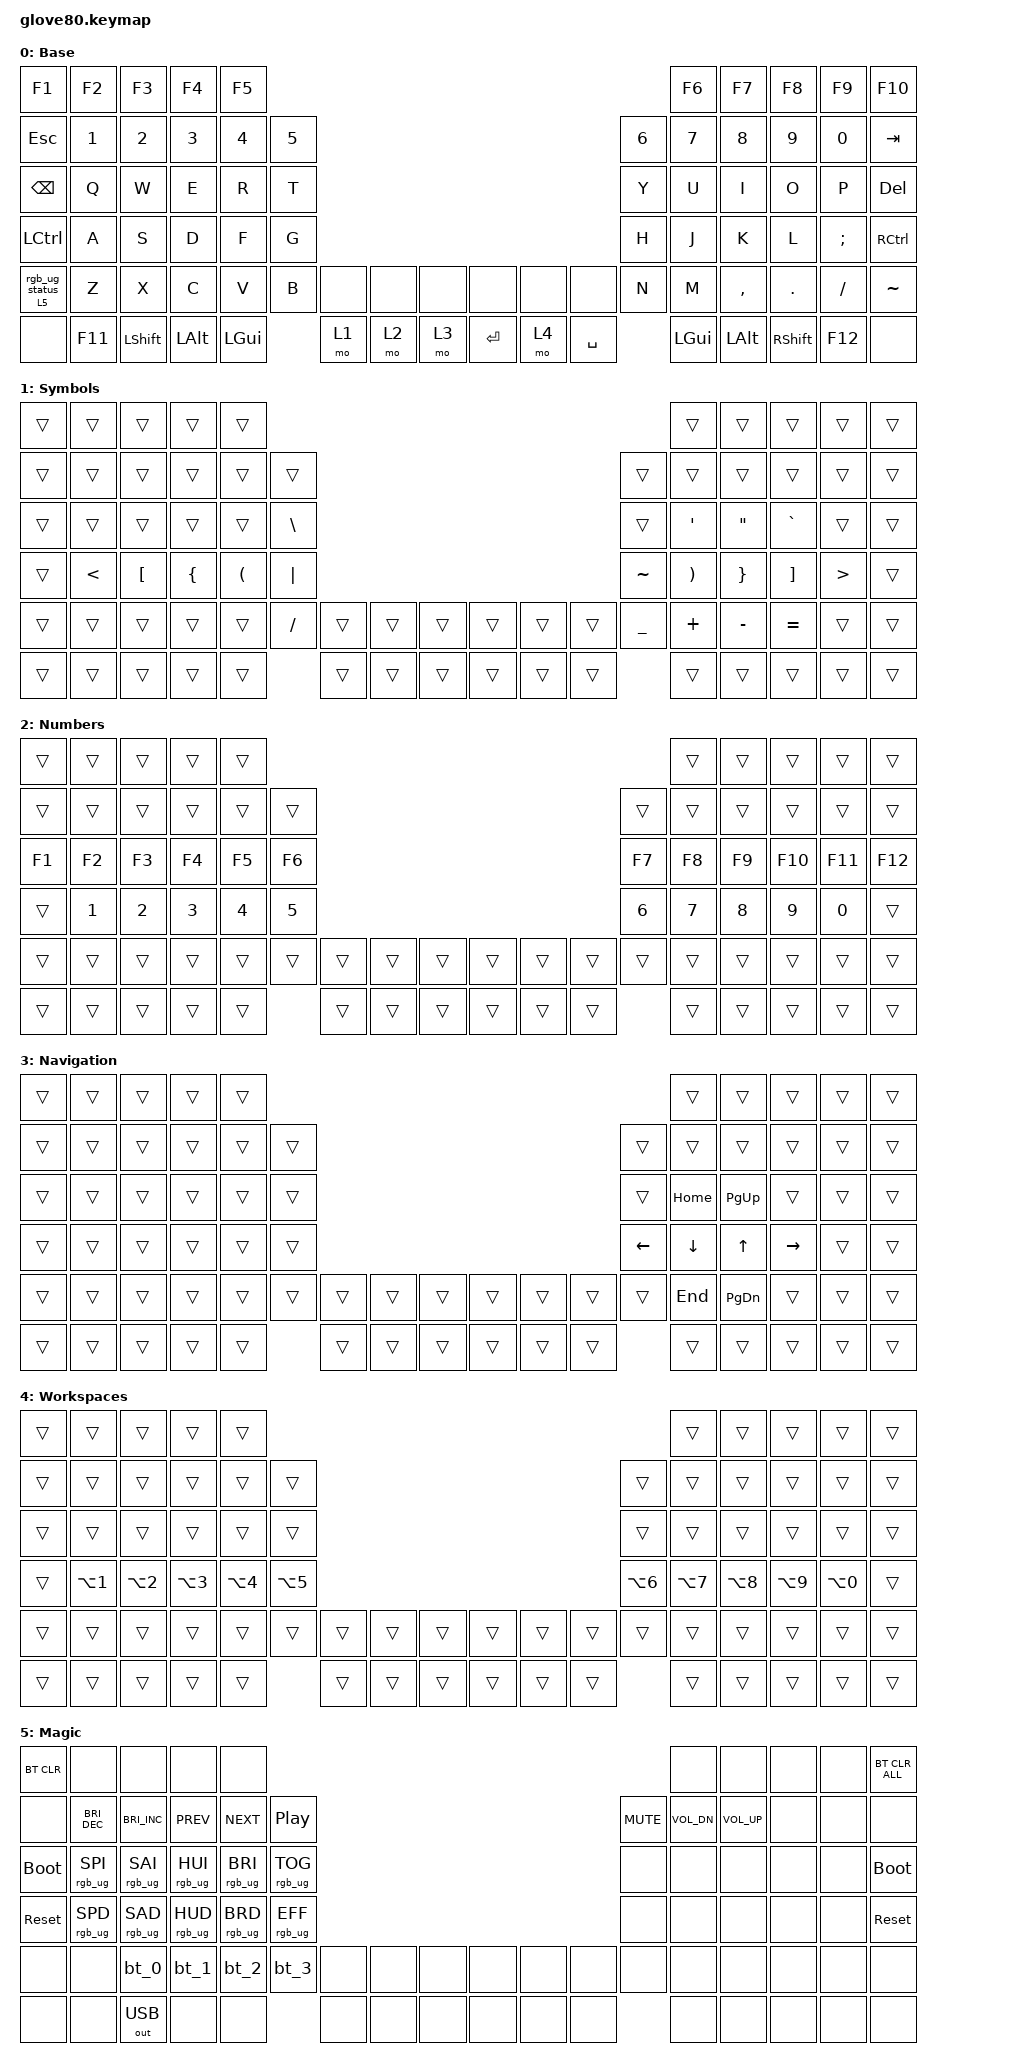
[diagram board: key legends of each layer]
#include <behaviors.dtsi>
#include <dt-bindings/zmk/bt.h>
#include <dt-bindings/zmk/keys.h>
#include <dt-bindings/zmk/outputs.h>
#include <dt-bindings/zmk/rgb.h>

/ {
    behaviors {
        td_numbers: td_numbers {
            compatible = "zmk,behavior-tap-dance";
            label = "TD_NUMBERS";
            #binding-cells = <0>;
            bindings = <&mo 5>, <&to 5>;
        };

        magic: magic {
            compatible = "zmk,behavior-hold-tap";
            label = "MAGIC";
            bindings = <&mo>, <&rgb_ug_status>;

            #binding-cells = <2>;
            flavor = "tap-preferred";
            tapping-term-ms = <200>;
        };
    };

    macros {
        rgb_ug_status: rgb_ug_status_macro_0 {
            label = "RGB_UG_STATUS";
            compatible = "zmk,behavior-macro";
            #binding-cells = <0>;
            bindings = <&rgb_ug RGB_STATUS>;
        };

        bt_0: bt_profile_macro_0 {
            label = "BT_0";
            compatible = "zmk,behavior-macro";
            #binding-cells = <0>;
            bindings = <&out OUT_BLE &bt BT_SEL 0>;
        };

        bt_1: bt_profile_macro_1 {
            label = "BT_1";
            compatible = "zmk,behavior-macro";
            #binding-cells = <0>;
            bindings = <&out OUT_BLE &bt BT_SEL 1>;
        };

        bt_2: bt_profile_macro_2 {
            label = "BT_2";
            compatible = "zmk,behavior-macro";
            #binding-cells = <0>;
            bindings = <&out OUT_BLE &bt BT_SEL 2>;
        };

        bt_3: bt_profile_macro_3 {
            label = "BT_3";
            compatible = "zmk,behavior-macro";
            #binding-cells = <0>;
            bindings = <&out OUT_BLE &bt BT_SEL 3>;
        };
    };

    keymap {
        compatible = "zmk,keymap";

        Base {
            bindings = <
&kp F1            &kp F2   &kp F3          &kp F4    &kp F5                                                                    &kp F6    &kp F7     &kp F8           &kp F9    &kp F10
&kp ESCAPE        &kp N1   &kp N2          &kp N3    &kp N4    &kp N5                                                  &kp N6  &kp N7    &kp N8     &kp N9           &kp N0    &kp TAB
&kp BACKSPACE     &kp Q    &kp W           &kp E     &kp R     &kp T                                                   &kp Y   &kp U     &kp I      &kp O            &kp P     &kp DELETE
&kp LEFT_CONTROL  &kp A    &kp S           &kp D     &kp F     &kp G                                                   &kp H   &kp J     &kp K      &kp L            &kp SEMI  &kp RIGHT_CONTROL
&magic 5 0        &kp Z    &kp X           &kp C     &kp V     &kp B   &none  &none  &none  &none    &none  &none      &kp N   &kp M     &kp COMMA  &kp DOT          &kp FSLH  &kp TILDE
&none             &kp F11  &kp LEFT_SHIFT  &kp LALT  &kp LGUI          &mo 1  &mo 2  &mo 3  &kp RET  &mo 4  &kp SPACE          &kp LGUI  &kp LALT   &kp RIGHT_SHIFT  &kp F12   &none
            >;
        };

        Symbols {
            bindings = <
&trans  &trans         &trans            &trans          &trans                                                                                               &trans                 &trans             &trans             &trans            &trans
&trans  &trans         &trans            &trans          &trans                &trans                                                         &trans          &trans                 &trans             &trans             &trans            &trans
&trans  &trans         &trans            &trans          &trans                &kp BACKSLASH                                                  &trans          &kp SINGLE_QUOTE       &kp DOUBLE_QUOTES  &kp GRAVE          &trans            &trans
&trans  &kp LESS_THAN  &kp LEFT_BRACKET  &kp LEFT_BRACE  &kp LEFT_PARENTHESIS  &kp PIPE                                                       &kp TILDE       &kp RIGHT_PARENTHESIS  &kp RIGHT_BRACE    &kp RIGHT_BRACKET  &kp GREATER_THAN  &trans
&trans  &trans         &trans            &trans          &trans                &kp SLASH      &trans  &trans  &trans  &trans  &trans  &trans  &kp UNDERSCORE  &kp PLUS               &kp MINUS          &kp EQUAL          &trans            &trans
&trans  &trans         &trans            &trans          &trans                               &trans  &trans  &trans  &trans  &trans  &trans                  &trans                 &trans             &trans             &trans            &trans
            >;
        };

        Numbers {
            bindings = <
&trans  &trans  &trans  &trans  &trans                                                                  &trans  &trans  &trans   &trans   &trans
&trans  &trans  &trans  &trans  &trans  &trans                                                  &trans  &trans  &trans  &trans   &trans   &trans
&kp F1  &kp F2  &kp F3  &kp F4  &kp F5  &kp F6                                                  &kp F7  &kp F8  &kp F9  &kp F10  &kp F11  &kp F12
&trans  &kp N1  &kp N2  &kp N3  &kp N4  &kp N5                                                  &kp N6  &kp N7  &kp N8  &kp N9   &kp N0   &trans
&trans  &trans  &trans  &trans  &trans  &trans  &trans  &trans  &trans  &trans  &trans  &trans  &trans  &trans  &trans  &trans   &trans   &trans
&trans  &trans  &trans  &trans  &trans          &trans  &trans  &trans  &trans  &trans  &trans          &trans  &trans  &trans   &trans   &trans
            >;
        };

        Navigation {
            bindings = <
&trans  &trans  &trans  &trans  &trans                                                                          &trans          &trans         &trans           &trans  &trans
&trans  &trans  &trans  &trans  &trans  &trans                                                  &trans          &trans          &trans         &trans           &trans  &trans
&trans  &trans  &trans  &trans  &trans  &trans                                                  &trans          &kp HOME        &kp PAGE_UP    &trans           &trans  &trans
&trans  &trans  &trans  &trans  &trans  &trans                                                  &kp LEFT_ARROW  &kp DOWN_ARROW  &kp UP_ARROW   &kp RIGHT_ARROW  &trans  &trans
&trans  &trans  &trans  &trans  &trans  &trans  &trans  &trans  &trans  &trans  &trans  &trans  &trans          &kp END         &kp PAGE_DOWN  &trans           &trans  &trans
&trans  &trans  &trans  &trans  &trans          &trans  &trans  &trans  &trans  &trans  &trans                  &trans          &trans         &trans           &trans  &trans
            >;
        };

        Workspaces {
            bindings = <
&trans  &trans      &trans      &trans      &trans                                                                              &trans      &trans      &trans      &trans      &trans
&trans  &trans      &trans      &trans      &trans      &trans                                                      &trans      &trans      &trans      &trans      &trans      &trans
&trans  &trans      &trans      &trans      &trans      &trans                                                      &trans      &trans      &trans      &trans      &trans      &trans
&trans  &kp LA(N1)  &kp LA(N2)  &kp LA(N3)  &kp LA(N4)  &kp LA(N5)                                                  &kp LA(N6)  &kp LA(N7)  &kp LA(N8)  &kp LA(N9)  &kp LA(N0)  &trans
&trans  &trans      &trans      &trans      &trans      &trans      &trans  &trans  &trans  &trans  &trans  &trans  &trans      &trans      &trans      &trans      &trans      &trans
&trans  &trans      &trans      &trans      &trans                  &trans  &trans  &trans  &trans  &trans  &trans              &trans      &trans      &trans      &trans      &trans
            >;
        };

        Magic {
            bindings = <
&bt BT_CLR   &none            &none                 &none            &none                                                                                    &none         &none         &none  &none  &bt BT_CLR_ALL
&none        &kp C_BRI_DEC    &kp C_BRIGHTNESS_INC  &kp C_PREV       &kp C_NEXT       &kp C_PLAY_PAUSE                                            &kp C_MUTE  &kp C_VOL_DN  &kp C_VOL_UP  &none  &none  &none
&bootloader  &rgb_ug RGB_SPI  &rgb_ug RGB_SAI       &rgb_ug RGB_HUI  &rgb_ug RGB_BRI  &rgb_ug RGB_TOG                                             &none       &none         &none         &none  &none  &bootloader
&sys_reset   &rgb_ug RGB_SPD  &rgb_ug RGB_SAD       &rgb_ug RGB_HUD  &rgb_ug RGB_BRD  &rgb_ug RGB_EFF                                             &none       &none         &none         &none  &none  &sys_reset
&none        &none            &bt_0                 &bt_1            &bt_2            &bt_3             &none  &none  &none  &none  &none  &none  &none       &none         &none         &none  &none  &none
&none        &none            &out OUT_USB          &none            &none                              &none  &none  &none  &none  &none  &none              &none         &none         &none  &none  &none
            >;
        };
    };
};
